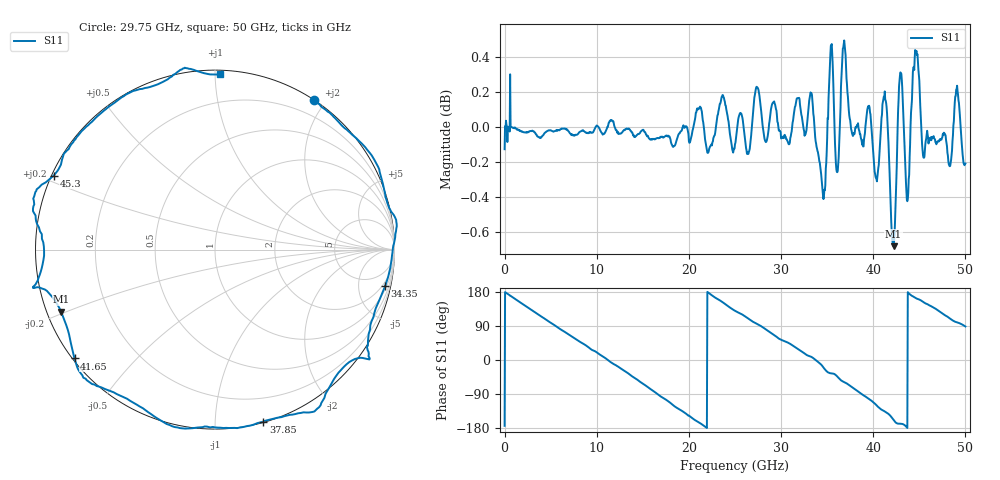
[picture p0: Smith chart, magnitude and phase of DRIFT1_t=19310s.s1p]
!Created with skrf (http://scikit-rf.org).
# Hz S RI R 50.0
!freq ReS11 ImS11
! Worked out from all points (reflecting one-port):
!   1001 points, 300 kHz to 50 GHz, reference 50 ohm
!   lowest |S11| = -0.7 dB at 42.2 GHz (marker M1), VSWR 25.50, Z = 2.03 - j9.69 ohm
!   phase of S11 starts at -174 deg and turns -818 deg over the sweep
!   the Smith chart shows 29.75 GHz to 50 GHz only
!   S11 on the Smith chart (normalised r, x): 29.75 GHz: 0.01, +1.86; 34.35 GHz: 1.36, -9.16; 37.85 GHz: 0.01, -1.32; 41.65 GHz: 0.01, -0.34; 45.3 GHz: 0.01, +0.22; 50 GHz: 0.02, +1.03
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300000  -0.9795 -0.1068
1.450291e9  -0.9122 0.4051
3.25028e9  -0.5917 0.8015
6.250262e9  0.2023 0.9779
9.500243e9  0.8926 0.4419
1.250022e10  0.9318 -0.3499
1.580021e10  0.2369 -0.9629
1.74002e10  -0.2237 -0.9682
1.875019e10  -0.5992 -0.792
2.150017e10  -0.9929 -0.1513
2.350016e10  -0.9232 0.4288
2.500015e10  -0.6329 0.7595
2.740014e10  -0.0943 1.022
2.975012e10  0.5504 0.8321
3.125011e10  0.7879 0.6202
3.31501e10  1.006 0.1724
3.435009e10  0.9474 -0.2047
3.520009e10  0.8548 -0.5685
3.750008e10  0.3705 -0.9334
3.785007e10  0.2688 -0.9581
3.960006e10  -0.2383 -0.9843
4.165005e10  -0.7826 -0.6062
4.220005e10  -0.8573 -0.346
4.290004e10  -1.012 -0.2138
4.375004e10  -0.9534 0.016
4.530003e10  -0.8983 0.4126
4.770001e10  -0.4874 0.8686
5e10  0.0259 0.9757
